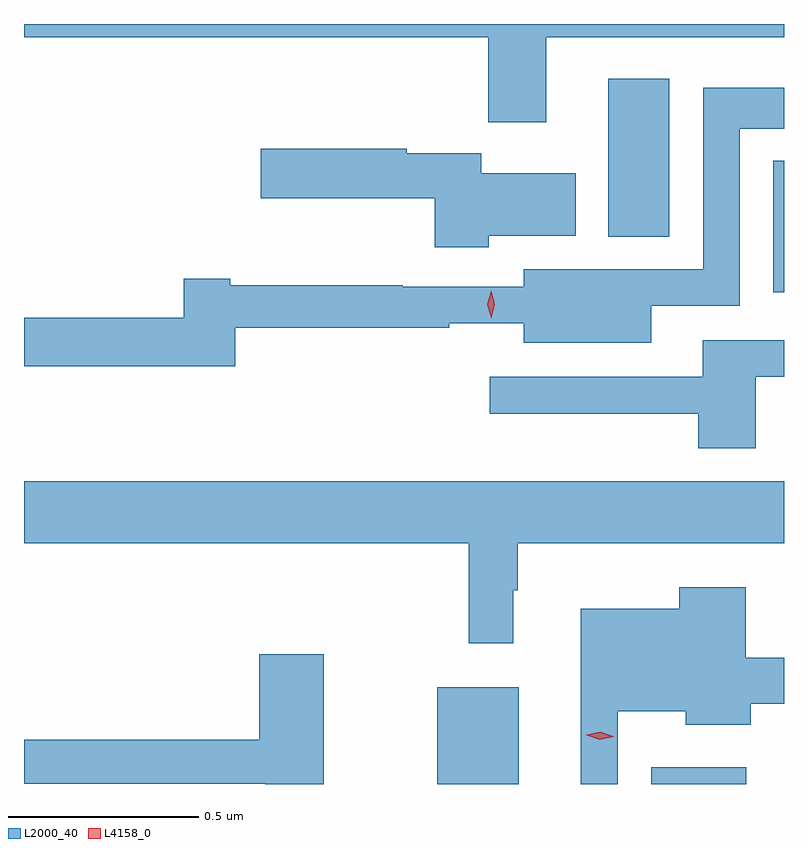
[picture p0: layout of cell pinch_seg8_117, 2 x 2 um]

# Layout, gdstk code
import gdstk
lib = gdstk.Library(unit=1e-6, precision=1e-09)
def R(c, l, rs):  # rectangles x0, y0, x1, y1
    for r in rs: c.add(gdstk.rectangle(r[:2], r[2:], *l))
def P(c, l, *ps):  # polygons
    for p in ps: c.add(gdstk.Polygon(p, *l))
L2000_40 = (2000, 40)
L4158_0 = (4158, 0)

pinch_seg8_117 = lib.new_cell('pinch_seg8_117')
R(pinch_seg8_117, L2000_40, [(1054.688,1091.891,1054.903,1092.145), (1055.252,1091.891,1055.501,1091.935), (1055.573,1093.185,1055.601,1093.531), (1055.138,1093.331,1055.299,1093.747)])
P(pinch_seg8_117, L2000_40, [(1054.975,1093.856),(1055.601,1093.856),(1055.601,1093.891),(1053.601,1093.891),(1053.601,1093.856),(1054.823,1093.856),(1054.823,1093.632),(1054.975,1093.632)],
  [(1054.157,1093.092),(1054.72,1093.092),(1054.72,1093.103),(1054.916,1093.103),(1054.916,1093.052),(1055.251,1093.052),(1055.251,1093.149),(1055.484,1093.149),(1055.484,1093.616),(1055.601,1093.616),(1055.601,1093.723),(1055.388,1093.723),(1055.388,1093.245),(1055.142,1093.245),(1055.142,1093.246),(1054.916,1093.246),(1054.916,1093.2),(1054.598,1093.2),(1054.598,1093.203),(1054.144,1093.203),(1054.144,1093.22),(1054.021,1093.22),(1054.021,1093.118),(1053.601,1093.118),(1053.601,1092.99),(1054.157,1092.99)],
  [(1054.824,1093.334),(1055.053,1093.334),(1055.053,1093.498),(1054.804,1093.498),(1054.804,1093.551),(1054.608,1093.551),(1054.608,1093.563),(1054.224,1093.563),(1054.224,1093.433),(1054.682,1093.433),(1054.682,1093.304),(1054.824,1093.304)],
  [(1055.527,1092.963),(1055.601,1092.963),(1055.601,1093.059),(1055.387,1093.059),(1055.387,1092.963),(1054.827,1092.963),(1054.827,1092.866),(1055.375,1092.866),(1055.375,1092.774),(1055.527,1092.774)],
  [(1054.888,1092.401),(1054.9,1092.401),(1054.9,1092.524),(1055.601,1092.524),(1055.601,1092.688),(1053.601,1092.688),(1053.601,1092.524),(1054.771,1092.524),(1054.771,1092.261),(1054.888,1092.261)],
  [(1055.163,1092.083),(1055.342,1092.083),(1055.342,1092.047),(1055.513,1092.047),(1055.513,1092.102),(1055.601,1092.102),(1055.601,1092.223),(1055.5,1092.223),(1055.5,1092.409),(1055.325,1092.409),(1055.325,1092.352),(1055.066,1092.352),(1055.066,1091.891),(1055.163,1091.891)],
  [(1054.39,1092.232),(1054.22,1092.232),(1054.22,1092.008),(1053.601,1092.008),(1053.601,1091.892),(1054.236,1091.892),(1054.236,1091.891),(1054.39,1091.891)])
P(pinch_seg8_117, L4158_0, [(1055.116,1092.008),(1055.082,1092.019),(1055.081,1092.02),(1055.082,1092.02),(1055.117,1092.028),(1055.152,1092.017),(1055.153,1092.017),(1055.152,1092.016)],
  [(1054.83,1093.117),(1054.83,1093.118),(1054.82,1093.153),(1054.83,1093.188),(1054.83,1093.189),(1054.83,1093.188),(1054.84,1093.153),(1054.83,1093.118)])

lib.write_gds('pinch_seg8_117.gds')
